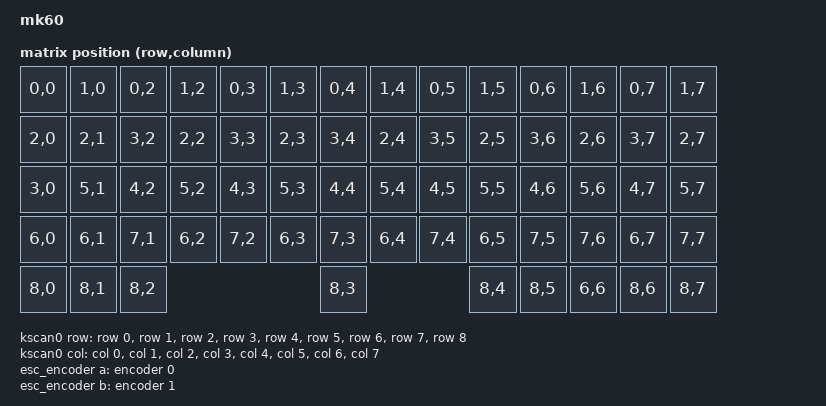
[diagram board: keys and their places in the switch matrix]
/*
 * Copyright (c) 2021 Miguelio
 *
 * SPDX-License-Identifier: MIT
 */

/dts-v1/;
#include <nordic/nrf52833_qiaa.dtsi>
#include <dt-bindings/zmk/matrix_transform.h>
#include "pins.dtsi"

/ {
	model = "mk60";
	compatible = "mk60";

	chosen {
		zephyr,code-partition = &code_partition;
		zephyr,sram = &sram0;
		zephyr,flash = &flash0;
		zmk,kscan = &kscan0;
		zmk,matrix_transform = &default_transform;
		zmk,underglow = &led_strip;
	};

	default_transform: keymap_transform_0 {
		compatible = "zmk,matrix-transform";
		columns = <8>;
		rows = <9>;
    map = <
RC(0,0) RC(1,0) RC(0,2) RC(1,2) RC(0,3) RC(1,3) RC(0,4) RC(1,4) RC(0,5) RC(1,5) RC(0,6) RC(1,6) RC(0,7) RC(1,7)
RC(2,0) RC(2,1) RC(3,2) RC(2,2) RC(3,3) RC(2,3) RC(3,4) RC(2,4) RC(3,5) RC(2,5) RC(3,6) RC(2,6) RC(3,7) RC(2,7)
RC(3,0) RC(5,1) RC(4,2) RC(5,2) RC(4,3) RC(5,3) RC(4,4) RC(5,4) RC(4,5) RC(5,5) RC(4,6) RC(5,6) RC(4,7) RC(5,7)
RC(6,0) RC(6,1) RC(7,1) RC(6,2) RC(7,2) RC(6,3) RC(7,3) RC(6,4) RC(7,4) RC(6,5) RC(7,5) RC(7,6) RC(6,7) RC(7,7)
RC(8,0) RC(8,1) RC(8,2)                         RC(8,3)                 RC(8,4) RC(8,5) RC(6,6) RC(8,6) RC(8,7)
    >;
	};

	kscan0: kscan {
		compatible = "zmk,kscan-gpio-matrix";
		label = "KSCAN";
    
		diode-direction = "col2row";
		row-gpios
			= <&row 0 (GPIO_ACTIVE_HIGH | GPIO_PULL_DOWN)>
			, <&row 1 (GPIO_ACTIVE_HIGH | GPIO_PULL_DOWN)>
			, <&row 2 (GPIO_ACTIVE_HIGH | GPIO_PULL_DOWN)>
			, <&row 3 (GPIO_ACTIVE_HIGH | GPIO_PULL_DOWN)>
			, <&row 4 (GPIO_ACTIVE_HIGH | GPIO_PULL_DOWN)>
			, <&row 5 (GPIO_ACTIVE_HIGH | GPIO_PULL_DOWN)>
			, <&row 6 (GPIO_ACTIVE_HIGH | GPIO_PULL_DOWN)>
			, <&row 7 (GPIO_ACTIVE_HIGH | GPIO_PULL_DOWN)>
      , <&row 8 (GPIO_ACTIVE_HIGH | GPIO_PULL_DOWN)>
			;
		col-gpios
			= <&col 0 GPIO_ACTIVE_HIGH>
			, <&col 1 GPIO_ACTIVE_HIGH>
			, <&col 2 GPIO_ACTIVE_HIGH>
			, <&col 3 GPIO_ACTIVE_HIGH>
			, <&col 4 GPIO_ACTIVE_HIGH>
			, <&col 5 GPIO_ACTIVE_HIGH>
			, <&col 6 GPIO_ACTIVE_HIGH>
			, <&col 7 GPIO_ACTIVE_HIGH>
			;
	};

	esc_encoder: esc_encoder {
		compatible = "alps,ec11";
		label = "LEFT_ENCODER";
		a-gpios = <&encoder 0 (GPIO_ACTIVE_HIGH | GPIO_PULL_UP)>;
		b-gpios = <&encoder 1 (GPIO_ACTIVE_HIGH | GPIO_PULL_UP)>;
		resolution = <4>;
	};

	leds {
		compatible = "gpio-leds";
		blue_led: led_0 {
			gpios = <&gpio0 30 GPIO_ACTIVE_HIGH>;
			label = "Blue LED";
		};
	};

	ext-power {
		compatible = "zmk,ext-power-generic";
		label = "EXT_POWER";
		control-gpios = <&gpio1 9 GPIO_ACTIVE_HIGH>;
	};

  vbatt {
      compatible = "zmk,battery-nrf-vddh";
      label = "BATTERY";
  };
};

&adc {
	status = "okay";
};

&gpiote {
	status = "okay";
};

&gpio0 {
	status = "okay";
};

&gpio1 {
	status = "okay";
};

&i2c0 {
	compatible = "nordic,nrf-twi";
	sda-pin = <15>;
	scl-pin = <17>;
};

&uart0 {
	status = "disabled";
	compatible = "nordic,nrf-uarte";
	tx-pin = <6>;
	rx-pin = <8>;
};

&usbd {
	status = "okay";
};

&spi1 {
	compatible = "nordic,nrf-spim";
	status = "okay";
	mosi-pin = <26>;
	// Unused pins, needed for SPI definition, but not used by the ws2812 driver itself.
	sck-pin = <4>; // 0.4 is not broken out on the mk60
	miso-pin = <20>; // 0.20 is not broken out on the mk60

	led_strip: ws2812@0 {
    compatible = "worldsemi,ws2812-spi";
    label = "WS2812";

    /* SPI */
    reg = <0>; /* ignored, but necessary for SPI bindings */
    spi-max-frequency = <4000000>;

    /* WS2812 */
    chain-length = <15>; /* number of LEDs */
    indicator-pixel = <14>;
    spi-one-frame = <0x70>;
    spi-zero-frame = <0x40>;
  };
};

&flash0 {
	/*
	 * For more information, see:
	 * http://docs.zephyrproject.org/latest/devices/dts/flash_partitions.html
	 */
	partitions {
		compatible = "fixed-partitions";
		#address-cells = <1>;
		#size-cells = <1>;

		sd_partition: partition@0 {
			label = "mbr";
			reg = <0x00000000 0x00001000>;
		};

		code_partition: partition@1000 {
			label = "code_partition";
			reg = <0x00001000 0x0006b000>;
		};

		storage_partition: partition@6c000 {
			label = "storage";
			reg = <0x0006c000 0x00008000>;
		};

		boot_partition: partition@74000 {
			label = "adafruit_boot";
			reg = <0x00074000 0x0000c000>;
		};
	};
};
